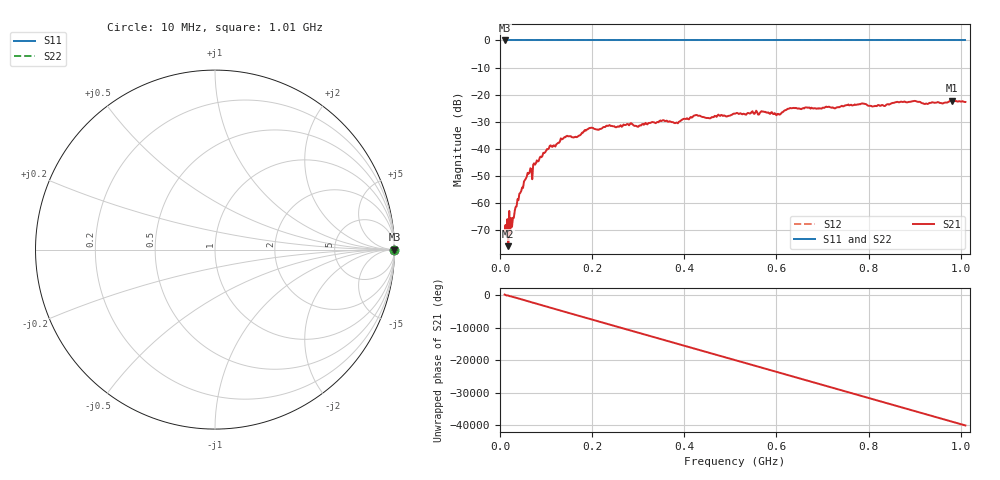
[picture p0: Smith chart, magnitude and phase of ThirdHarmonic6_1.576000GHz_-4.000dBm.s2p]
! 8/16/2025 6:44:46 PM
! C:\ANRITSUVNA\TEMP\TEMP.S2P
! CHANNEL.1
! TR.MEASUREMENT
! RAW.DATA
! RF.CORRECTION.OFF
! AVERAGING.OFF
! IF.BANDWIDTH: 5KHZ
! SWEEPTYPE:  FREQ.SWEEP(Linear)
! Reference Plane Port Info
! PORT:  PORT1  PORT2
! DISTANCE:  0  m  0  m
! TIME:  0  s  0  s
! PHASE.OFFSET:  0  deg.  0  deg.
! LOSS:  0  dB  0  dB
! REF.LOSS:  0  dB  0  dB
! REF.FREQ:  0  Hz  0  Hz
! Power Info
! POWER:  -20  dBm  -20  dBm
! EFF.POWER:  -20  dBm  -20  dBm
! SOURCE.ATTEN:  0  dB  0  dB
! TEST.ATTEN:  0  dB  0  dB
# GHZ S RI R 50.0
! FREQ.GHZ  S11RE  S11IM  S21RE  S21IM  S12RE  S12IM  S22RE  S22IM
!; PortSelection: Port_12
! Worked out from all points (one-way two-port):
!   501 points, 10 MHz to 1.01 GHz, reference 50 ohm
!   highest |S21| = -22.20 dB at 980 MHz (marker M1); lowest = -75.9 dB at 18 MHz (marker M2)
!   lowest |S11| = 0.0 dB at 10 MHz (marker M3)
!   |S11| at or under -10 dB: nowhere
!   |S22| runs from 0.0 to 0.0 dB; largest |S21 - S12| = 1.1
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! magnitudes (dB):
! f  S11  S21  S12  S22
! 10 MHz  0.0  -70.5  0.0  0.0
! 18 MHz  0.0  -75.9  0.0  0.0
! 24 MHz  0.0  -65.5  0.0  0.0
! 26 MHz  0.0  -68.7  0.0  0.0
! 38 MHz  0.0  -58.5  0.0  0.0
! 56 MHz  0.0  -51.0  0.0  0.0
! 76 MHz  0.0  -45.8  0.0  0.0
! 106 MHz  0.0  -39.8  0.0  0.0
! 136 MHz  0.0  -36.3  0.0  0.0
! 178 MHz  0.0  -34.0  0.0  0.0
! 196 MHz  0.0  -32.3  0.0  0.0
! 344 MHz  0.0  -30.1  0.0  0.0
! 382 MHz  0.0  -30.3  0.0  0.0
! 424 MHz  0.0  -27.6  0.0  0.0
! 454 MHz  0.0  -28.7  0.0  0.0
! 510 MHz  0.0  -27.0  0.0  0.0
! 604 MHz  0.0  -27.1  0.0  0.0
! 628 MHz  0.0  -25.1  0.0  0.0
! 678 MHz  0.0  -25.0  0.0  0.0
! 844 MHz  0.0  -23.6  0.0  0.0
! 980 MHz  0.0  -22.2  0.0  0.0
! 1.01 GHz  0.0  -22.7  0.0  0.0
